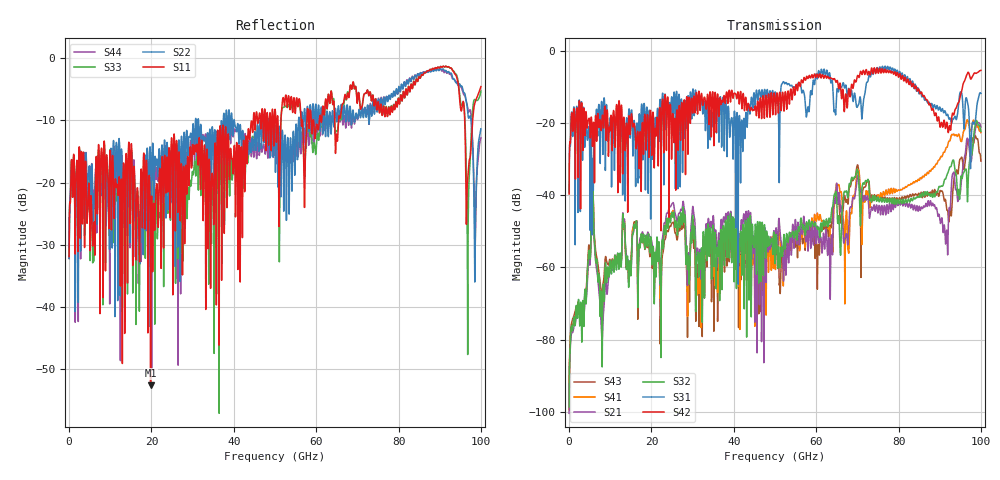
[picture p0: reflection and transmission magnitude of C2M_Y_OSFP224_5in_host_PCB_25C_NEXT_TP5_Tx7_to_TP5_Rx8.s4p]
# GHz S RI R 45
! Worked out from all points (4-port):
!   4000 points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, 25 MHz to 100 GHz, reference 45 ohm
!   strongest paths, dB at 25 MHz, 25.02 GHz, 50.02 GHz, 75.03 GHz, 100 GHz:
!     S42: -39.7, -21.0, -14.6, -6.0, -5.4
!     S31: -39.3, -13.4, -11.4, -5.3, -11.7
!     S32: -98.6, -44.9, -59.0, -40.5, -22.3
!     S21: -100.4, -42.3, -56.8, -44.8, -21.1
!     S41: -99.5, -45.0, -54.9, -39.9, -22.6
!     S43: -97.9, -47.7, -56.2, -40.8, -30.5
!   lowest |S11| = -52.6 dB at 19.8 GHz (marker M1), VSWR 1.00, Z = 45.2 - j0.127 ohm
!   |S11| at or under -10 dB: start of sweep to 44.74 GHz; 59.38 GHz to 60.78 GHz (1.401 GHz wide, 2.33 % of centre); 96.08 GHz to 98 GHz (1.929 GHz wide, 1.99 % of centre)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
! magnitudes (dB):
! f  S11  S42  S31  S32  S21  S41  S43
! 25 MHz  -31.9  -39.7  -39.3  -98.6  -100.4  -99.5  -97.9
! 5.775 GHz  -29.7  -22.8  -31.2  -36.7  -36.8  -36.7  -36.7
! 8.025 GHz  -15.8  -18.5  -15.1  -79.6  -80.1  -72.2  -67.6
! 19.8 GHz  -52.6  -16.6  -37.5  -52.2  -51.8  -53.8  -55.4
! 91.6 GHz  -1.3  -20.3  -17.8  -35.0  -50.5  -26.8  -42.8
! 96.9 GHz  -18.6  -5.9  -15.0  -36.4  -24.7  -19.7  -25.1
! 100 GHz  -4.6  -5.4  -11.7  -22.3  -21.1  -22.6  -30.5
